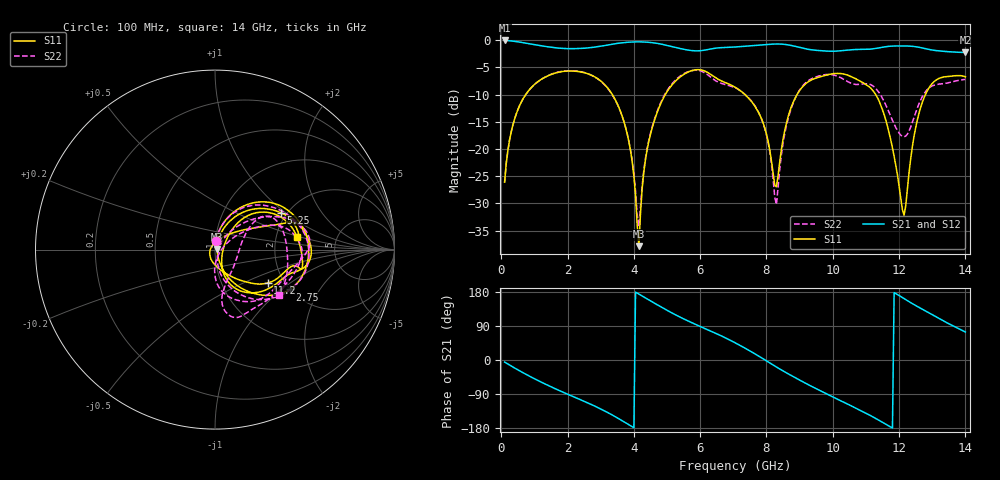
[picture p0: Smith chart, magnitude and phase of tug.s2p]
! hatab_sma_fr4_step90: multiline TRL calibrated (TUGMultilineTRL, scikit-rf 2.1.0)
! raw data ZiadHatab/SMA-PCB-mTRL-kit @ 031c694, switch terms corrected
! reference impedance: characteristic impedance of the 2.941 mm 50 Ohm line,
! NOT 50 Ohm; the R value below is a placeholder required by the format
# Hz S RI R 1
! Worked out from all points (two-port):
!   279 points, 100 MHz to 14 GHz, reference 1 ohm
!   highest |S21| = -0.03 dB at 100 MHz (marker M1); lowest = -2.2 dB at 14 GHz (marker M2)
!   |S21| within 3 dB of the highest: start of sweep to end of sweep
!   lowest |S11| = -37.8 dB at 4.15 GHz (marker M3), VSWR 1.03, Z = 1.02 + j0.00801 ohm
!   |S11| at or under -10 dB: 3.352 GHz to 4.946 GHz (1.594 GHz wide, 38.4 % of centre); 7.354 GHz to 8.921 GHz (1.567 GHz wide, 19.3 % of centre); 11.3 GHz to 12.79 GHz (1.497 GHz wide, 12.4 % of centre)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
!   |S22| runs from -34.2 to -5.5 dB; largest |S21 - S12| = 0.0084
!   S11 on the Smith chart (normalised r, x): 100 MHz: 1.01, +0.10; 2.75 GHz: 2.00, -1.14; 5.25 GHz: 1.85, +0.93; 11.2 GHz: 1.65, -0.70; 14 GHz: 2.62, +0.46
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1e8  0.00546 0.0494  0.9919 -0.0938  0.993 -0.0923  0.00553 0.0492
3e8  0.0408 0.1383  0.9481 -0.2702  0.9498 -0.2672  0.0409 0.1386
7.5e8  0.1945 0.2558  0.7406 -0.579  0.7414 -0.5796  0.2057 0.2461
2.45e9  0.487 -0.1454  -0.2486 -0.8059  -0.2502 -0.8061  0.4873 -0.1511
2.75e9  0.4176 -0.222  -0.4143 -0.7538  -0.4165 -0.7532  0.4146 -0.2264
3.75e9  0.0653 -0.1437  -0.9268 -0.2357  -0.9261 -0.2434  0.0401 -0.1528
4e9  0.0201 -0.0527  -0.9636 -0.0219  -0.9665 -0.029  0.0131 -0.0577
4.15e9  0.0122 0.00391  -0.9621 0.1025  -0.9587 0.1078  0.0193 -0.00195
4.35e9  0.0262 0.0759  -0.9236 0.2713  -0.9198 0.2762  0.052 0.0642
4.75e9  0.1329 0.1963  -0.7486 0.5542  -0.745 0.5564  0.1829 0.1592
5.25e9  0.3662 0.2059  -0.4225 0.7485  -0.4176 0.75  0.3918 0.1761
7.05e9  0.3017 -0.2154  0.6071 0.6199  0.6074 0.6181  0.2334 -0.283
7.9e9  0.0617 -0.1621  0.9077 0.048  0.9071 0.0463  0.00541 -0.1719
8.3e9  0.0451 0.000123  0.8758 -0.2943  0.8746 -0.2954  0.0294 -0.0096
8.7e9  0.1461 0.1659  0.7044 -0.5633  0.7027 -0.564  0.1833 0.1097
9.4e9  0.4148 0.1407  0.2608 -0.7715  0.2595 -0.7713  0.4418 0.0826
1.12e10  0.2937 -0.1856  -0.7191 -0.4224  -0.7187 -0.4217  0.0888 -0.3722
1.17e10  0.0547 -0.1294  -0.8765 -0.0854  -0.8764 -0.0858  0.0528 -0.2105
1.215e10  -0.0211 0.0127  -0.8435 0.2744  -0.8435 0.2734  0.1246 -0.0364
1.245e10  0.094 0.0916  -0.7289 0.4876  -0.7282 0.488  0.1726 0.0922
1.28e10  0.2912 0.1324  -0.531 0.6468  -0.5305 0.6467  0.2815 0.1868
1.4e10  0.4564 0.0692  0.213 0.7426  0.2137 0.7424  0.3552 -0.2551
